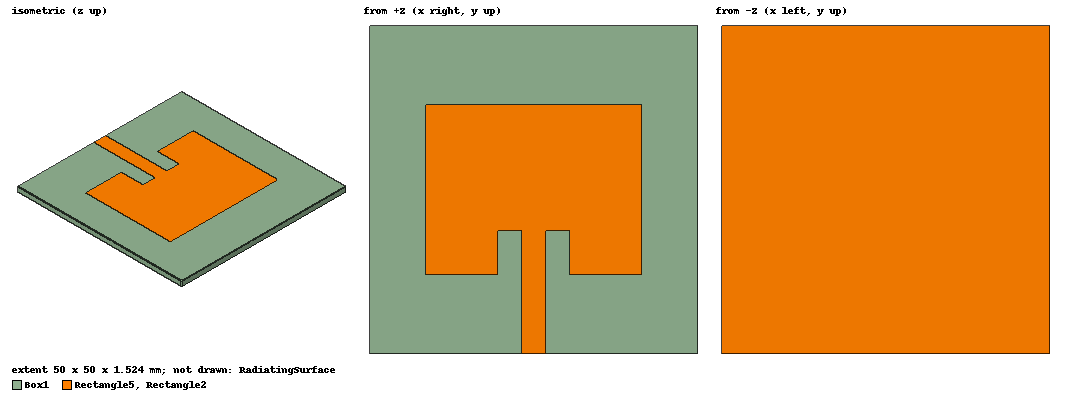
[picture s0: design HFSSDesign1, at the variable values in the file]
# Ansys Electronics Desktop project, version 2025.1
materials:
  vacuum: permittivity=1
  Rogers RO4350 (tm): permittivity=3.66 dielectric_loss_tangent=0.004
  copper: permeability=0.999991 conductivity=58000000

design HFSSDesign1 (HFSS, HFSS Terminal Network, model units mm)
options: open_region{BoundaryType=0 OpFreq=3GHz}
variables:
  Xsize = 50mm
  Ysize = 50mm
  Zsize = 1.524mm
  W = 3.6mm
  L = 4.28mm
  Xpatch = 32.8mm
  Ypatch = 25.85mm
  Lfeed = 19.3mm
  Wo = 11mm
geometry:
  Box1 [Rogers RO4350 (tm)] = box(corner=(-Xsize/2, -Ysize/2, 0mm), size=(Xsize, Ysize, Zsize))
  Rectangle1 = rectangle(corner=(-W/2, -Ysize/2, Zsize), x_size=W, y_size=Lfeed)
  Rectangle2 = rectangle(corner=(-Xpatch/2, -Ypatch/2, Zsize), x_size=Xpatch, y_size=Ypatch)
  Rectangle3 = rectangle(corner=(-Wo/2, -Ypatch/2, Zsize), x_size=Wo, y_size=6.6mm)
  Rectangle2.subtract(Rectangle3)
  Rectangle2.unite(Rectangle1)
  Rectangle4 = rectangle(corner=(-W/2, -Ysize/2, 0mm), z_size=Zsize, x_size=W)
  RadiatingSurface [vacuum] = region(absolute_offset=33.333333mm on all sides)
  Rectangle5 = rectangle(corner=(-25mm, -25mm, 0), x_size=50mm, y_size=50mm)
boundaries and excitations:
  PerfE1: Perfect E Objects=Rectangle2
  AutoOpen1: Radiation Objects=RadiatingSurface
  PerfE2: Perfect E Objects=Rectangle5
  1: Lumped Port Objects=Rectangle4 LumpedPortType=Modal Modes{Mode1{IntLine{(0, -25, 0) -> (0, -25, 1.524)} CharImp=Zpi}} Impedance=50ohm
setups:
  Setup1: HfssDriven Frequency=3GHz MaxDeltaS=0.02 MaximumPasses=20 MinimumPasses=1 MinimumConvergedPasses=1 PercentRefinement=30 BasisOrder=1 PortAccuracy=2 DrivenSolverType="Direct Solver"
    sweep Sweep: 1.5GHz to 4.5GHz step 0.001GHz; Type=Interpolating SaveFields SaveRadFields InterpTolerance=0.5 InterpMaxSolns=250 PassivityErrorTolerance=0.0001
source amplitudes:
  1:1: 1V 0deg
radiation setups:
  Infinite Sphere1: Infinite Sphere Theta=0deg..360deg step 2deg Phi=0deg..90deg step 2deg
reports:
  Gain Plot1: dB(GainTotal) vs Phi, Theta on Setup1 : LastAdaptive, Infinite Sphere1 [Freq=3GHz Xpatch=32.8mm Ypatch=25.85mm Wo=12mm]
  Gain Plot2: dB(GainTotal) vs Theta on Setup1 : LastAdaptive, Infinite Sphere1 [Phi=0deg,90deg Freq=3GHz Wo=12mm]
  Terminal S Parameter Plot1: dB(St(1,1)) vs Freq on Setup1 : Sweep [Xpatch=32.8mm Ypatch=25.85mm Wo=11mm]
  Gain Plot3: dB(GainTotal) vs Phi, Theta on Setup1 : LastAdaptive, Infinite Sphere1 [Freq=3GHz Xpatch=32.8mm Ypatch=25.85mm Wo=12mm]
